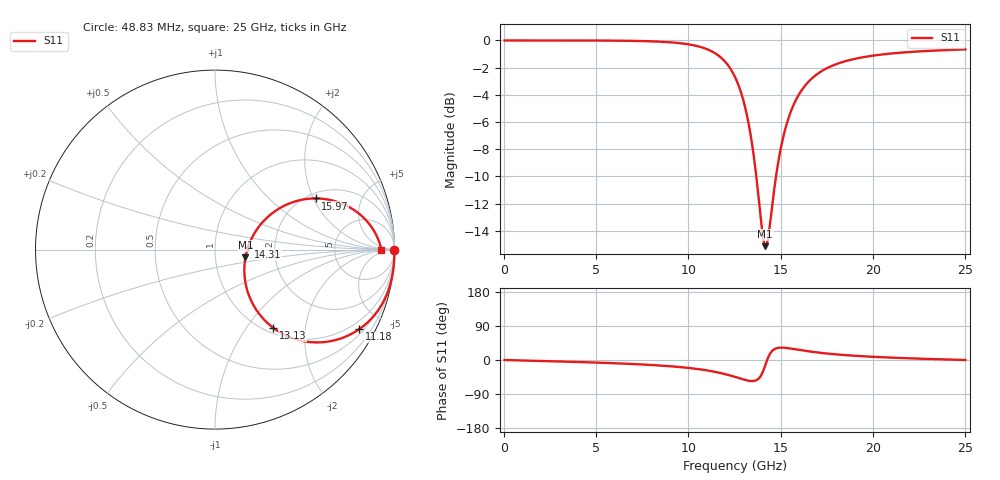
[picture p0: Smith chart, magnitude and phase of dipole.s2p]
# GHz S RI R 50
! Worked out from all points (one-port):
!   512 points, 48.83 MHz to 25 GHz, reference 50 ohm
!   lowest |S11| = -15.1 dB at 14.16 GHz (marker M1), VSWR 1.42, Z = 70.1 - j6.27 ohm
!   |S11| at or under -10 dB: 13.68 GHz to 14.75 GHz (1.068 GHz wide, 7.52 % of centre)
!   S11 on the Smith chart (normalised r, x): 48.83 MHz: open; 11.18 GHz: 0.67, -3.77; 13.13 GHz: 1.09, -1.35; 14.31 GHz: 1.45, +0.05; 15.97 GHz: 2.20, +2.08; 25 GHz: 26, +0
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0.04882812  1 -0.00104
3.173828  0.9974 -0.0704
6.298828  0.9854 -0.158
8.007812  0.9665 -0.2262
9.423828  0.9305 -0.3045
10.40039  0.8792 -0.376
11.18164  0.8038 -0.4431
11.91406  0.6815 -0.5013
12.54883  0.5156 -0.5137
12.8418  0.4217 -0.4898
13.13477  0.3255 -0.4367
13.42773  0.2404 -0.3504
13.67188  0.1895 -0.2563
14.01367  0.1635 -0.1069
14.16016  0.1697 -0.0433
14.30664  0.1853 0.0167
14.64844  0.2494 0.1341
14.99023  0.3342 0.214
15.2832  0.4094 0.2552
15.67383  0.5015 0.2808
15.9668  0.5611 0.2852
16.55273  0.6558 0.2733
17.1875  0.7284 0.247
17.91992  0.7857 0.213
18.79883  0.8312 0.1743
20.16602  0.8738 0.1231
21.92383  0.9035 0.0708
25  0.9269 0.000389
